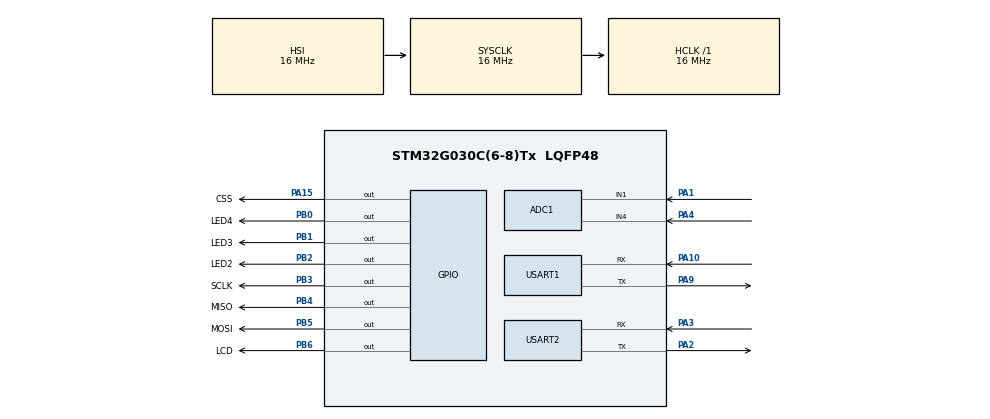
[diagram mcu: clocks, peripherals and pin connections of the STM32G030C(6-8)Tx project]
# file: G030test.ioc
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ADC1.Channel-2\#ChannelRegularConversion=ADC_CHANNEL_4
ADC1.NbrOfConversionFlag=1
ADC1.Rank-2\#ChannelRegularConversion=1
ADC1.SamplingTime-2\#ChannelRegularConversion=ADC_SAMPLINGTIME_COMMON_1
ADC1.SamplingTimeCommon1=ADC_SAMPLETIME_160CYCLES_5
ADC1.SamplingTimeCommon2=ADC_SAMPLETIME_160CYCLES_5
ADC1.SelectedChannel=ADC_CHANNEL_1|ADC_CHANNEL_4
ADC1.master=1
Mcu.Family=STM32G0
Mcu.Name=STM32G030C(6-8)Tx
Mcu.Package=LQFP48
NVIC.TIM14_IRQn=true\:0\:0\:false\:false\:true\:true\:true\:true
PA1.Mode=IN1
PA1.Signal=ADC1_IN1
PA10.Mode=Asynchronous
PA10.Signal=USART1_RX
PA13.Mode=Serial_Wire
PA13.Signal=SYS_SWDIO
PA14-BOOT0.Mode=Serial_Wire
PA14-BOOT0.Signal=SYS_SWCLK
PA15.GPIO_Label=CSS
PA15.Signal=GPIO_Output
PA2.Mode=Asynchronous
PA2.Signal=USART2_TX
PA3.Mode=Asynchronous
PA3.Signal=USART2_RX
PA4.Mode=IN4
PA4.Signal=ADC1_IN4
PA9.Mode=Asynchronous
PA9.Signal=USART1_TX
PB0.GPIO_Label=LED4
PB0.Signal=GPIO_Output
PB1.GPIO_Label=LED3
PB1.Signal=GPIO_Output
PB2.GPIO_Label=LED2
PB2.Signal=GPIO_Output
PB3.GPIO_Label=SCLK
PB3.Signal=GPIO_Output
PB4.GPIO_Label=MISO
PB4.Signal=GPIO_Output
PB5.GPIO_Label=MOSI
PB5.Signal=GPIO_Output
PB6.GPIO_Label=LCD
PB6.Signal=GPIO_Output
PF0-OSC_IN\ (PF0).Mode=HSE-External-Oscillator
PF0-OSC_IN\ (PF0).Signal=RCC_OSC_IN
PF1-OSC_OUT\ (PF1).Mode=HSE-External-Oscillator
PF1-OSC_OUT\ (PF1).Signal=RCC_OSC_OUT
ProjectManager.HeapSize=0x200
ProjectManager.StackSize=0x400
ProjectManager.TargetToolchain=MDK-ARM V5.32
RCC.AHBFreq_Value=16000000
RCC.CortexFreq_Value=16000000
RCC.EXTERNAL_CLOCK_VALUE=12288000
RCC.HCLKFreq_Value=16000000
RCC.HSE_VALUE=8000000
RCC.HSI_VALUE=16000000
RCC.LSE_VALUE=32768
RCC.SYSCLKFreq_VALUE=16000000
RCC.VCOOutputFreq_Value=128000000
TIM14.Period=49
TIM14.Prescaler=15
USART1.VirtualMode-Asynchronous=VM_ASYNC
USART2.VirtualMode-Asynchronous=VM_ASYNC
VP_TIM14_VS_ClockSourceINT.Mode=Enable_Timer
board=custom

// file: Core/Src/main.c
/* USER CODE BEGIN Header */
/**
  ******************************************************************************
  * @file           : main.c
  * @brief          : Main program body
  ******************************************************************************
  * @attention
  *
  * Copyright (c) 2026 STMicroelectronics.
  * All rights reserved.
  *
  * This software is licensed under terms that can be found in the LICENSE file
  * in the root directory of this software component.
  * If no LICENSE file comes with this software, it is provided AS-IS.
  *
  ******************************************************************************
  */
/* USER CODE END Header */
#include "main.h"
#include "adc.h"
#include "tim.h"
#include "usart.h"
#include "gpio.h"

/* USER CODE BEGIN Includes */
#include <stdio.h>
#include <string.h>
#include "lcd.h"
/* USER CODE END Includes */

/* USER CODE BEGIN PTD */
typedef enum
{
  KEY_NONE = 0,
  KEY_UP,
  KEY_DOWN,
  KEY_LEFT,
  KEY_RIGHT,
  KEY_CENTER,
  KEY_SAVE,
  KEY_RESET_DEFAULT,
  KEY_OUTPUT_MODE
} Key_t;

typedef enum
{
  MODE_AUTO = 0,
  MODE_MANUAL
} WorkMode_t;

typedef enum
{
  OUTPUT_STEP = 0,
  OUTPUT_PWM
} LightOutputMode_t;

typedef struct
{
  uint32_t magic;
  uint32_t version;
  uint32_t bright_threshold;
  uint32_t mid_threshold;
  uint32_t dark_threshold;
  uint32_t checksum;
} AppConfig_t;

/* USER CODE END PTD */

/* USER CODE BEGIN PD */
  #define LIGHT_BRIGHT_THRESHOLD_DEFAULT 1000
  #define LIGHT_MID_THRESHOLD_DEFAULT 2300
  #define LIGHT_DARK_THRESHOLD_DEFAULT 3200
  #define LIGHT_THRESHOLD_STEP 100
  #define LIGHT_THRESHOLD_MAX 4095
  #define ADC_SAMPLE_INTERVAL_MS 100
  #define LCD_REFRESH_INTERVAL_MS 500
  #define UART_REPORT_INTERVAL_MS 1000
  #define LCD_MESSAGE_HOLD_MS 2000
  #define SOFT_PWM_LED_STEPS 200
  #define SOFT_PWM_TOTAL_STEPS SOFT_PWM_LED_STEPS
  #define PWM_LEVEL_MAX 20
  #define UART1_RX_BUFFER_SIZE 128
  #define UART_RX_DRAIN_LIMIT 128
  #define WIFI_AT_CMD_MAX_LEN 96
  #define WIFI_AT_INPUT_TIMEOUT_MS 1000
  #define UART2_RX_BUFFER_SIZE 256
  #define WIFI_AT_REPLY_TIMEOUT_MS 12000
  #define WIFI_AT_REPLY_IDLE_MS 120
  #define WIFI_JOIN_REPLY_TIMEOUT_MS 30000
  #define WIFI_JOIN_REPLY_IDLE_MS WIFI_JOIN_REPLY_TIMEOUT_MS
  #define LCD_CHARS_PER_LINE 16
  #define LED_ON GPIO_PIN_RESET
  #define LED_OFF GPIO_PIN_SET
  #define CONFIG_MAGIC 0x20260713U
  #define CONFIG_VERSION 1U
  #define CONFIG_FLASH_ADDRESS (FLASH_BASE + FLASH_SIZE - FLASH_PAGE_SIZE)
/* USER CODE END PD */

/* USER CODE BEGIN PV */
static WorkMode_t g_work_mode = MODE_AUTO;
static uint8_t g_manual_level = 0;
static uint8_t g_manual_pwm_level = 0;
static uint32_t g_light_bright_threshold = LIGHT_BRIGHT_THRESHOLD_DEFAULT;
static uint32_t g_light_mid_threshold = LIGHT_MID_THRESHOLD_DEFAULT;
static uint32_t g_light_dark_threshold = LIGHT_DARK_THRESHOLD_DEFAULT;
static uint32_t g_light_adc = 0;
static uint32_t g_key_adc = 0;
static uint8_t g_led_level = 0;
static volatile LightOutputMode_t g_output_mode = OUTPUT_STEP;
static volatile uint16_t g_pwm_brightness = 0;
static uint8_t g_uart1_rx_byte = 0;
static volatile uint8_t g_uart1_rx_head = 0;
static volatile uint8_t g_uart1_rx_tail = 0;
static volatile uint8_t g_uart1_rx_buffer[UART1_RX_BUFFER_SIZE];
static uint8_t g_uart2_rx_byte = 0;
static volatile uint16_t g_uart2_rx_head = 0;
static volatile uint16_t g_uart2_rx_tail = 0;
static volatile uint8_t g_uart2_rx_buffer[UART2_RX_BUFFER_SIZE];
static const char *g_lcd_message = "";
static uint32_t g_lcd_message_until = 0;
static const uint16_t g_pwm_gamma_table[PWM_LEVEL_MAX + 1] =
{
  0, 1, 2, 4, 7,
  11, 16, 23, 31, 41,
  53, 66, 81, 98, 116,
  135, 154, 172, 186, 195,
  200
};

/* USER CODE END PV */

void SystemClock_Config(void);
/* USER CODE BEGIN PFP */
static uint32_t Read_ADC_Channel(uint32_t channel);
static uint32_t Read_Light_ADC(void);
static uint32_t Read_Key_ADC(void);
static uint8_t Get_Light_Level(uint32_t adc_value);
static void Set_Led_Level(uint8_t level);
static Key_t Get_Key_By_UART(void);
static Key_t Get_Key_By_WIFI(void);
static Key_t Command_Char_To_Key(uint8_t data);
static const char *Key_To_String(Key_t key);
static const char *Mode_To_String(WorkMode_t mode);
static const char *Output_Mode_To_String(LightOutputMode_t mode);
static void Process_Key(Key_t key);
static void LCD_Show_Status(void);
static void LCD_Draw_TextLine(uint16_t y, const char *text);
static void LCD_Set_Message(const char *message, uint32_t hold_ms);
static uint16_t PWM_Level_To_Duty(uint8_t level);
static uint8_t PWM_Duty_To_Level(uint16_t duty);
static uint16_t Get_PWM_Brightness(uint32_t adc_value);
static void Soft_PWM_Update(void);
static uint32_t Config_Calc_Checksum(const AppConfig_t *config);
static uint8_t Config_Is_Valid(const AppConfig_t *config);
static void Config_Load(void);
static uint8_t Config_Save(void);
static void Config_Reset_Defaults(void);
static void UART1_Start_Receive_IT(void);
static void UART1_Buffer_Push(uint8_t data);
static uint8_t UART1_Read_Byte(uint8_t *data);
static void UART2_Start_Receive_IT(void);
static void UART2_Buffer_Push(uint8_t data);
static uint8_t UART2_Read_Byte(uint8_t *data);
static void UART1_Send_String(const char *text);
static void WIFI_Read_And_Send_AT_Command(void);
static void WIFI_Send_AT_Command(const char *at_command);
static void WIFI_Forward_Response(uint32_t timeout_ms, uint32_t idle_ms);
/* USER CODE END PFP */

int main(void)
{

  /* MCU Configuration--------------------------------------------------------*/

  /* Reset of all peripherals, Initializes the Flash interface and the Systick. */
  HAL_Init();

  /* Configure the system clock */
  SystemClock_Config();

  /* Initialize all configured peripherals */
  MX_GPIO_Init();
  MX_USART1_UART_Init();
  MX_ADC1_Init();
  MX_TIM14_Init();
  MX_USART2_UART_Init();
  /* USER CODE BEGIN 2 */
  Config_Load();

  HAL_NVIC_SetPriority(USART1_IRQn, 0, 0);
  HAL_NVIC_EnableIRQ(USART1_IRQn);
  HAL_NVIC_SetPriority(USART2_IRQn, 0, 0);
  HAL_NVIC_EnableIRQ(USART2_IRQn);
  UART1_Start_Receive_IT();
  UART2_Start_Receive_IT();

  if (HAL_TIM_Base_Start_IT(&htim14) != HAL_OK)
  {
    Error_Handler();
  }

  HAL_GPIO_WritePin(CSS_GPIO_Port, CSS_Pin, GPIO_PIN_SET);

  Lcd_Init();
  Lcd_Clear(BLACK);
  LCD_Show_Status();
  UART1_Send_String("\r\nLocal: m/g/a/d/w/s/p/r, WiFi AT line parser v2: @AT+GMR\r\n");
  /* USER CODE END 2 */

  /* Infinite loop */
  while (1)
  {

    /* USER CODE BEGIN 3 */
    uint32_t now = HAL_GetTick();
    static uint32_t last_adc_sample_tick = 0;
    static uint32_t last_lcd_refresh_tick = 0;
    static uint32_t last_uart_report_tick = 0;
    Key_t uart_key = Get_Key_By_UART();
    Key_t wifi_key = Get_Key_By_WIFI();
    Key_t active_key = uart_key != KEY_NONE ? uart_key : wifi_key;

    Process_Key(active_key);

    if (now - last_adc_sample_tick >= ADC_SAMPLE_INTERVAL_MS)
    {
      uint32_t raw_light_adc;

      last_adc_sample_tick = now;
      raw_light_adc = Read_Light_ADC();
      if (g_light_adc == 0)
      {
        g_light_adc = raw_light_adc;
      }
      else
      {
        g_light_adc = (g_light_adc * 3U + raw_light_adc) / 4U;
      }
      g_key_adc = Read_Key_ADC();
    }

    if (g_work_mode == MODE_AUTO)
    {
      g_led_level = Get_Light_Level(g_light_adc);
      g_pwm_brightness = Get_PWM_Brightness(g_light_adc);
    }
    else
    {
      g_led_level = g_manual_level;
      g_pwm_brightness = PWM_Level_To_Duty(g_manual_pwm_level);
    }

    if (g_output_mode == OUTPUT_STEP)
    {
      Set_Led_Level(g_led_level);
    }

    if (now - last_lcd_refresh_tick >= LCD_REFRESH_INTERVAL_MS)
    {
      last_lcd_refresh_tick = now;
      LCD_Show_Status();
    }

    if (now - last_uart_report_tick >= UART_REPORT_INTERVAL_MS || active_key != KEY_NONE)
    {
      char msg[220];

      last_uart_report_tick = now;
      sprintf(msg,
              "mode=%s, output=%s, light=%lu, key_adc=%lu, uart_key=%s, level=%d, pwm=%d, pwm_level=%d, th=%lu/%lu/%lu\r\n",
              Mode_To_String(g_work_mode),
              Output_Mode_To_String(g_output_mode),
              g_light_adc,
              g_key_adc,
              Key_To_String(active_key),
              g_led_level,
              g_pwm_brightness,
              PWM_Duty_To_Level(g_pwm_brightness),
              g_light_bright_threshold,
              g_light_mid_threshold,
              g_light_dark_threshold);
      HAL_UART_Transmit(&huart1, (uint8_t *)msg, strlen(msg), 100);
    }
  }
 /* USER CODE END 3 */
}

void SystemClock_Config(void)
{
  RCC_OscInitTypeDef RCC_OscInitStruct = {0};
  RCC_ClkInitTypeDef RCC_ClkInitStruct = {0};

  /** Configure the main internal regulator output voltage
  */
  HAL_PWREx_ControlVoltageScaling(PWR_REGULATOR_VOLTAGE_SCALE1);

  /** Initializes the RCC Oscillators according to the specified parameters
  * in the RCC_OscInitTypeDef structure.
  */
  RCC_OscInitStruct.OscillatorType = RCC_OSCILLATORTYPE_HSI;
  RCC_OscInitStruct.HSIState = RCC_HSI_ON;
  RCC_OscInitStruct.HSIDiv = RCC_HSI_DIV1;
  RCC_OscInitStruct.HSICalibrationValue = RCC_HSICALIBRATION_DEFAULT;
  RCC_OscInitStruct.PLL.PLLState = RCC_PLL_NONE;
  if (HAL_RCC_OscConfig(&RCC_OscInitStruct) != HAL_OK)
  {
    Error_Handler();
  }

  /** Initializes the CPU, AHB and APB buses clocks
  */
  RCC_ClkInitStruct.ClockType = RCC_CLOCKTYPE_HCLK|RCC_CLOCKTYPE_SYSCLK
                              |RCC_CLOCKTYPE_PCLK1;
  RCC_ClkInitStruct.SYSCLKSource = RCC_SYSCLKSOURCE_HSI;
  RCC_ClkInitStruct.AHBCLKDivider = RCC_SYSCLK_DIV1;
  RCC_ClkInitStruct.APB1CLKDivider = RCC_HCLK_DIV1;

  if (HAL_RCC_ClockConfig(&RCC_ClkInitStruct, FLASH_LATENCY_0) != HAL_OK)
  {
    Error_Handler();
  }
}

/* USER CODE BEGIN 4 */
static uint32_t Read_ADC_Channel(uint32_t channel)
{
  ADC_ChannelConfTypeDef sConfig = {0};
  uint32_t adc_value = 0;

  sConfig.Channel = channel;
  sConfig.Rank = ADC_REGULAR_RANK_1;
  sConfig.SamplingTime = ADC_SAMPLINGTIME_COMMON_1;

  if (HAL_ADC_ConfigChannel(&hadc1, &sConfig) != HAL_OK)
  {
    Error_Handler();
  }

  HAL_ADC_Start(&hadc1);

  if (HAL_ADC_PollForConversion(&hadc1, 100) == HAL_OK)
  {
    adc_value = HAL_ADC_GetValue(&hadc1);
  }

  HAL_ADC_Stop(&hadc1);

  return adc_value;
}

static uint32_t Read_Light_ADC(void)
{
  return Read_ADC_Channel(ADC_CHANNEL_4);
}

static uint32_t Read_Key_ADC(void)
{
  return Read_ADC_Channel(ADC_CHANNEL_1);
}

static uint8_t Get_Light_Level(uint32_t adc_value)
{
  if (adc_value < g_light_bright_threshold)
  {
    return 0;
  }
  else if (adc_value < g_light_mid_threshold)
  {
    return 1;
  }
  else if (adc_value < g_light_dark_threshold)
  {
    return 2;
  }
  else
  {
    return 3;
  }
}

static void Set_Led_Level(uint8_t level)
{
  HAL_GPIO_WritePin(LED2_GPIO_Port, LED2_Pin, level >= 1 ? LED_ON : LED_OFF);
  HAL_GPIO_WritePin(LED3_GPIO_Port, LED3_Pin, level >= 2 ? LED_ON : LED_OFF);
  HAL_GPIO_WritePin(LED4_GPIO_Port, LED4_Pin, level >= 3 ? LED_ON : LED_OFF);
}

static uint16_t PWM_Level_To_Duty(uint8_t level)
{
  if (level > PWM_LEVEL_MAX)
  {
    level = PWM_LEVEL_MAX;
  }

  return g_pwm_gamma_table[level];
}

static uint8_t PWM_Duty_To_Level(uint16_t duty)
{
  uint8_t level;

  for (level = 0; level < PWM_LEVEL_MAX; level++)
  {
    if (duty <= g_pwm_gamma_table[level])
    {
      return level;
    }
  }

  return PWM_LEVEL_MAX;
}

static uint16_t Get_PWM_Brightness(uint32_t adc_value)
{
  uint32_t span;
  uint32_t level;

  if (adc_value <= g_light_bright_threshold)
  {
    return PWM_Level_To_Duty(0);
  }

  if (adc_value >= g_light_dark_threshold)
  {
    return PWM_Level_To_Duty(PWM_LEVEL_MAX);
  }

  span = g_light_dark_threshold - g_light_bright_threshold;
  level = ((adc_value - g_light_bright_threshold) * PWM_LEVEL_MAX + span / 2U) / span;

  return PWM_Level_To_Duty((uint8_t)level);
}

static void Soft_PWM_Update(void)
{
  static uint16_t pwm_step = 0;
  uint16_t brightness;

  if (g_output_mode != OUTPUT_PWM)
  {
    return;
  }

  pwm_step++;
  if (pwm_step >= SOFT_PWM_LED_STEPS)
  {
    pwm_step = 0;
  }

  brightness = g_pwm_brightness;
  HAL_GPIO_WritePin(LED2_GPIO_Port, LED2_Pin, LED_OFF);
  HAL_GPIO_WritePin(LED3_GPIO_Port, LED3_Pin, pwm_step < brightness ? LED_ON : LED_OFF);
  HAL_GPIO_WritePin(LED4_GPIO_Port, LED4_Pin, LED_OFF);
}

void HAL_TIM_PeriodElapsedCallback(TIM_HandleTypeDef *htim)
{
  if (htim->Instance == TIM14)
  {
    Soft_PWM_Update();
  }
}

static Key_t Get_Key_By_UART(void)
{
  uint8_t rx_data = 0;
  uint8_t read_count = 0;
  Key_t key = KEY_NONE;

  while (read_count < UART_RX_DRAIN_LIMIT && UART1_Read_Byte(&rx_data))
  {
    read_count++;

    if (rx_data == '@')
    {
      WIFI_Read_And_Send_AT_Command();
    }
    else
    {
      Key_t rx_key = Command_Char_To_Key(rx_data);

      if (rx_key != KEY_NONE)
      {
        key = rx_key;
      }
    }
  }

  return key;
}

static Key_t Get_Key_By_WIFI(void)
{
  static uint8_t prefix_index = 0;
  static uint8_t reading_header = 0;
  static uint16_t ipd_length = 0;
  static uint16_t ipd_data_left = 0;
  const char prefix[] = "+IPD,";
  uint8_t rx_data = 0;
  Key_t key = KEY_NONE;

  while (UART2_Read_Byte(&rx_data))
  {
    if (ipd_data_left > 0)
    {
      key = Command_Char_To_Key(rx_data);
      ipd_data_left--;

      if (key != KEY_NONE)
      {
        char msg[32];

        sprintf(msg, "\r\nwifi remote: %s\r\n", Key_To_String(key));
        UART1_Send_String(msg);
        return key;
      }

      continue;
    }

    if (reading_header)
    {
      if (rx_data >= '0' && rx_data <= '9')
      {
        ipd_length = (uint16_t)(ipd_length * 10U + rx_data - '0');
      }
      else if (rx_data == ',')
      {
        ipd_length = 0;
      }
      else if (rx_data == ':')
      {
        ipd_data_left = ipd_length > 0 ? ipd_length : 1;
        reading_header = 0;
        ipd_length = 0;
      }
      else
      {
        reading_header = 0;
        ipd_length = 0;
      }

      continue;
    }

    if (rx_data == (uint8_t)prefix[prefix_index])
    {
      prefix_index++;
      if (prefix[prefix_index] == '\0')
      {
        prefix_index = 0;
        reading_header = 1;
        ipd_length = 0;
      }
    }
    else
    {
      prefix_index = rx_data == '+' ? 1 : 0;
    }
  }

  return KEY_NONE;
}

static Key_t Command_Char_To_Key(uint8_t data)
{
  if (data == 'w' || data == 'W')
  {
    return KEY_UP;
  }
  else if (data == 's' || data == 'S')
  {
    return KEY_DOWN;
  }
  else if (data == 'a' || data == 'A')
  {
    return KEY_LEFT;
  }
  else if (data == 'd' || data == 'D')
  {
    return KEY_RIGHT;
  }
  else if (data == 'm' || data == 'M')
  {
    return KEY_CENTER;
  }
  else if (data == 'p' || data == 'P')
  {
    return KEY_SAVE;
  }
  else if (data == 'r' || data == 'R')
  {
    return KEY_RESET_DEFAULT;
  }
  else if (data == 'g' || data == 'G')
  {
    return KEY_OUTPUT_MODE;
  }

  return KEY_NONE;
}

static void UART1_Send_String(const char *text)
{
  HAL_UART_Transmit(&huart1, (uint8_t *)text, strlen(text), 100);
}

static void UART1_Start_Receive_IT(void)
{
  if (HAL_UART_Receive_IT(&huart1, &g_uart1_rx_byte, 1) != HAL_OK)
  {
    Error_Handler();
  }
}

static void UART1_Buffer_Push(uint8_t data)
{
  uint8_t next_head = (uint8_t)((g_uart1_rx_head + 1U) % UART1_RX_BUFFER_SIZE);

  if (next_head != g_uart1_rx_tail)
  {
    g_uart1_rx_buffer[g_uart1_rx_head] = data;
    g_uart1_rx_head = next_head;
  }
}

static uint8_t UART1_Read_Byte(uint8_t *data)
{
  if (g_uart1_rx_tail == g_uart1_rx_head)
  {
    return 0;
  }

  *data = g_uart1_rx_buffer[g_uart1_rx_tail];
  g_uart1_rx_tail = (uint8_t)((g_uart1_rx_tail + 1U) % UART1_RX_BUFFER_SIZE);

  return 1;
}

static void UART2_Start_Receive_IT(void)
{
  if (HAL_UART_Receive_IT(&huart2, &g_uart2_rx_byte, 1) != HAL_OK)
  {
    Error_Handler();
  }
}

static void UART2_Buffer_Push(uint8_t data)
{
  uint16_t next_head = (uint16_t)((g_uart2_rx_head + 1U) % UART2_RX_BUFFER_SIZE);

  if (next_head != g_uart2_rx_tail)
  {
    g_uart2_rx_buffer[g_uart2_rx_head] = data;
    g_uart2_rx_head = next_head;
  }
}

static uint8_t UART2_Read_Byte(uint8_t *data)
{
  if (g_uart2_rx_tail == g_uart2_rx_head)
  {
    return 0;
  }

  *data = g_uart2_rx_buffer[g_uart2_rx_tail];
  g_uart2_rx_tail = (uint16_t)((g_uart2_rx_tail + 1U) % UART2_RX_BUFFER_SIZE);

  return 1;
}

void HAL_UART_RxCpltCallback(UART_HandleTypeDef *huart)
{
  if (huart->Instance == USART1)
  {
    UART1_Buffer_Push(g_uart1_rx_byte);
    UART1_Start_Receive_IT();
  }
  else if (huart->Instance == USART2)
  {
    UART2_Buffer_Push(g_uart2_rx_byte);
    UART2_Start_Receive_IT();
  }
}

static void WIFI_Read_And_Send_AT_Command(void)
{
  char command[WIFI_AT_CMD_MAX_LEN + 1];
  uint8_t rx_data = 0;
  uint8_t len = 0;
  uint32_t start_tick = HAL_GetTick();

  while (len < WIFI_AT_CMD_MAX_LEN
         && HAL_GetTick() - start_tick < WIFI_AT_INPUT_TIMEOUT_MS)
  {
    if (UART1_Read_Byte(&rx_data))
    {
      if (rx_data == '\r' || rx_data == '\n')
      {
        break;
      }

      command[len++] = (char)rx_data;
    }
    else
    {
      HAL_Delay(1);
    }
  }

  command[len] = '\0';
  UART1_Send_String("\r\nwifi cmd ready\r\n");
  WIFI_Send_AT_Command(len == 0 ? "AT" : command);
}

static void WIFI_Send_AT_Command(const char *at_command)
{
  char command[WIFI_AT_CMD_MAX_LEN + 3];
  uint8_t len = strlen(at_command);
  uint8_t discard = 0;
  uint32_t reply_timeout = WIFI_AT_REPLY_TIMEOUT_MS;
  uint32_t reply_idle = WIFI_AT_REPLY_IDLE_MS;

  if (len > WIFI_AT_CMD_MAX_LEN)
  {
    len = WIFI_AT_CMD_MAX_LEN;
  }

  memcpy(command, at_command, len);
  command[len] = '\0';

  UART1_Send_String("\r\nwifi tx: ");
  UART1_Send_String(command);
  UART1_Send_String("\r\nwifi rx:\r\n");

  while (UART2_Read_Byte(&discard))
  {
  }

  command[len++] = '\r';
  command[len++] = '\n';
  HAL_UART_Transmit(&huart2, (uint8_t *)command, len, 1000);

  if (strncmp(at_command, "AT+CWJAP", 8) == 0 || strncmp(at_command, "AT+CWLAP", 8) == 0)
  {
    reply_timeout = WIFI_JOIN_REPLY_TIMEOUT_MS;
    reply_idle = WIFI_JOIN_REPLY_IDLE_MS;
  }

  WIFI_Forward_Response(reply_timeout, reply_idle);
}

static void WIFI_Forward_Response(uint32_t timeout_ms, uint32_t idle_ms)
{
  uint8_t rx_data = 0;
  uint8_t got_response = 0;
  uint32_t start_tick = HAL_GetTick();
  uint32_t last_rx_tick = start_tick;

  while (HAL_GetTick() - start_tick < timeout_ms)
  {
    if (UART2_Read_Byte(&rx_data))
    {
      got_response = 1;
      last_rx_tick = HAL_GetTick();
      HAL_UART_Transmit(&huart1, &rx_data, 1, 100);
    }
    else if (got_response && HAL_GetTick() - last_rx_tick >= idle_ms)
    {
      break;
    }
    else
    {
      HAL_Delay(1);
    }
  }

  if (!got_response)
  {
    UART1_Send_String("(timeout/no response)\r\n");
  }

  UART1_Send_String("\r\n(wifi rx end)\r\n");
}

static const char *Key_To_String(Key_t key)
{
  switch (key)
  {
    case KEY_UP:
      return "UP";
    case KEY_DOWN:
      return "DOWN";
    case KEY_LEFT:
      return "LEFT";
    case KEY_RIGHT:
      return "RIGHT";
    case KEY_CENTER:
      return "CENTER";
    case KEY_SAVE:
      return "SAVE";
    case KEY_RESET_DEFAULT:
      return "RESET";
    case KEY_OUTPUT_MODE:
      return "OUTPUT";
    default:
      return "NONE";
  }
}

static const char *Mode_To_String(WorkMode_t mode)
{
  if (mode == MODE_MANUAL)
  {
    return "MANUAL";
  }

  return "AUTO";
}

static const char *Output_Mode_To_String(LightOutputMode_t mode)
{
  if (mode == OUTPUT_PWM)
  {
    return "PWM";
  }

  return "STEP";
}

static void Process_Key(Key_t key)
{
  if (key == KEY_CENTER)
  {
    if (g_work_mode == MODE_AUTO)
    {
      g_work_mode = MODE_MANUAL;
      g_manual_level = g_led_level;
      g_manual_pwm_level = PWM_Duty_To_Level(g_pwm_brightness);
    }
    else
    {
      g_work_mode = MODE_AUTO;
    }
  }
  else if (key == KEY_LEFT)
  {
    if (g_work_mode == MODE_MANUAL && g_output_mode == OUTPUT_PWM)
    {
      if (g_manual_pwm_level > 0)
      {
        g_manual_pwm_level--;
      }
    }
    else if (g_work_mode == MODE_MANUAL && g_manual_level > 0)
    {
      g_manual_level--;
    }
  }
  else if (key == KEY_RIGHT)
  {
    if (g_work_mode == MODE_MANUAL && g_output_mode == OUTPUT_PWM)
    {
      if (g_manual_pwm_level < PWM_LEVEL_MAX)
      {
        g_manual_pwm_level++;
      }
    }
    else if (g_work_mode == MODE_MANUAL && g_manual_level < 3)
    {
      g_manual_level++;
    }
  }
  else if (key == KEY_UP)
  {
    if (g_light_dark_threshold + LIGHT_THRESHOLD_STEP <= LIGHT_THRESHOLD_MAX)
    {
      g_light_bright_threshold += LIGHT_THRESHOLD_STEP;
      g_light_mid_threshold += LIGHT_THRESHOLD_STEP;
      g_light_dark_threshold += LIGHT_THRESHOLD_STEP;
    }
  }
  else if (key == KEY_DOWN)
  {
    if (g_light_bright_threshold > LIGHT_THRESHOLD_STEP)
    {
      g_light_bright_threshold -= LIGHT_THRESHOLD_STEP;
    }
    if (g_light_mid_threshold > LIGHT_THRESHOLD_STEP)
    {
      g_light_mid_threshold -= LIGHT_THRESHOLD_STEP;
    }
    if (g_light_dark_threshold > LIGHT_THRESHOLD_STEP)
    {
      g_light_dark_threshold -= LIGHT_THRESHOLD_STEP;
    }
  }
  else if (key == KEY_SAVE)
  {
    if (Config_Save())
    {
      LCD_Set_Message("Config SAVED", LCD_MESSAGE_HOLD_MS);
    }
    else
    {
      LCD_Set_Message("Save FAILED", LCD_MESSAGE_HOLD_MS);
    }
    LCD_Show_Status();
  }
  else if (key == KEY_RESET_DEFAULT)
  {
    Config_Reset_Defaults();
    LCD_Set_Message("Default RAM", LCD_MESSAGE_HOLD_MS);
    LCD_Show_Status();
  }
  else if (key == KEY_OUTPUT_MODE)
  {
    if (g_output_mode == OUTPUT_STEP)
    {
      g_output_mode = OUTPUT_PWM;
      LCD_Set_Message("Output PWM", LCD_MESSAGE_HOLD_MS);
    }
    else
    {
      g_output_mode = OUTPUT_STEP;
      LCD_Set_Message("Output STEP", LCD_MESSAGE_HOLD_MS);
    }
    LCD_Show_Status();
  }
}

static uint32_t Config_Calc_Checksum(const AppConfig_t *config)
{
  return config->magic
         ^ config->version
         ^ config->bright_threshold
         ^ config->mid_threshold
         ^ config->dark_threshold
         ^ 0xA5A5A5A5U;
}

static uint8_t Config_Is_Valid(const AppConfig_t *config)
{
  if (config->magic != CONFIG_MAGIC || config->version != CONFIG_VERSION)
  {
    return 0;
  }

  if (config->checksum != Config_Calc_Checksum(config))
  {
    return 0;
  }

  if (config->bright_threshold >= config->mid_threshold
      || config->mid_threshold >= config->dark_threshold
      || config->dark_threshold > LIGHT_THRESHOLD_MAX)
  {
    return 0;
  }

  return 1;
}

static void Config_Load(void)
{
  const AppConfig_t *config = (const AppConfig_t *)CONFIG_FLASH_ADDRESS;

  if (Config_Is_Valid(config))
  {
    g_light_bright_threshold = config->bright_threshold;
    g_light_mid_threshold = config->mid_threshold;
    g_light_dark_threshold = config->dark_threshold;
  }
  else
  {
    Config_Reset_Defaults();
  }
}

static uint8_t Config_Save(void)
{
  AppConfig_t config;
  FLASH_EraseInitTypeDef erase_init = {0};
  uint32_t page_error = 0;
  uint32_t page = (CONFIG_FLASH_ADDRESS - FLASH_BASE) / FLASH_PAGE_SIZE;
  uint32_t words[sizeof(AppConfig_t) / sizeof(uint32_t)];
  uint32_t i;
  uint8_t save_ok = 0;
  const AppConfig_t *saved_config = (const AppConfig_t *)CONFIG_FLASH_ADDRESS;

  config.magic = CONFIG_MAGIC;
  config.version = CONFIG_VERSION;
  config.bright_threshold = g_light_bright_threshold;
  config.mid_threshold = g_light_mid_threshold;
  config.dark_threshold = g_light_dark_threshold;
  config.checksum = Config_Calc_Checksum(&config);

  memcpy(words, &config, sizeof(config));

  HAL_FLASH_Unlock();

  erase_init.TypeErase = FLASH_TYPEERASE_PAGES;
  erase_init.Banks = FLASH_BANK_1;
  erase_init.Page = page;
  erase_init.NbPages = 1;

  if (HAL_FLASHEx_Erase(&erase_init, &page_error) == HAL_OK)
  {
    save_ok = 1;

    for (i = 0; i < sizeof(AppConfig_t) / 8U; i++)
    {
      uint64_t data = ((uint64_t)words[i * 2U + 1U] << 32) | words[i * 2U];

      if (HAL_FLASH_Program(FLASH_TYPEPROGRAM_DOUBLEWORD,
                            CONFIG_FLASH_ADDRESS + i * 8U,
                            data) != HAL_OK)
      {
        save_ok = 0;
        break;
      }
    }
  }

  HAL_FLASH_Lock();

  if (save_ok
      && Config_Is_Valid(saved_config)
      && saved_config->bright_threshold == g_light_bright_threshold
      && saved_config->mid_threshold == g_light_mid_threshold
      && saved_config->dark_threshold == g_light_dark_threshold)
  {
    return 1;
  }

  return 0;
}

static void Config_Reset_Defaults(void)
{
  g_light_bright_threshold = LIGHT_BRIGHT_THRESHOLD_DEFAULT;
  g_light_mid_threshold = LIGHT_MID_THRESHOLD_DEFAULT;
  g_light_dark_threshold = LIGHT_DARK_THRESHOLD_DEFAULT;
}

static void LCD_Show_Status(void)
{
  char line[32];
  const char *message = "";

  sprintf(line, "Mode:%s %s",
          Mode_To_String(g_work_mode),
          Output_Mode_To_String(g_output_mode));
  LCD_Draw_TextLine(0, line);

  sprintf(line, "Light:%lu", g_light_adc);
  LCD_Draw_TextLine(16, line);

  sprintf(line, "Level:%d PWM:%d",
          g_led_level,
          g_pwm_brightness);
  LCD_Draw_TextLine(32, line);

  sprintf(line, "T1:%lu T2:%lu",
          g_light_bright_threshold,
          g_light_mid_threshold);
  LCD_Draw_TextLine(48, line);

  sprintf(line, "T3:%lu",
          g_light_dark_threshold);
  LCD_Draw_TextLine(64, line);

  if (HAL_GetTick() < g_lcd_message_until)
  {
    message = g_lcd_message;
  }
  LCD_Draw_TextLine(80, message);
}

static void LCD_Draw_TextLine(uint16_t y, const char *text)
{
  char display[LCD_CHARS_PER_LINE + 1];
  uint8_t i;

  memset(display, ' ', LCD_CHARS_PER_LINE);
  display[LCD_CHARS_PER_LINE] = '\0';

  for (i = 0; i < LCD_CHARS_PER_LINE && text[i] != '\0'; i++)
  {
    display[i] = text[i];
  }

  Gui_DrawFont_GBK16(0, y, WHITE, BLACK, (uint8_t *)display);
}

static void LCD_Set_Message(const char *message, uint32_t hold_ms)
{
  g_lcd_message = message;
  g_lcd_message_until = HAL_GetTick() + hold_ms;
}
/* USER CODE END 4 */

void Error_Handler(void)
{
  __disable_irq();
  while (1)
  {
  }
}
